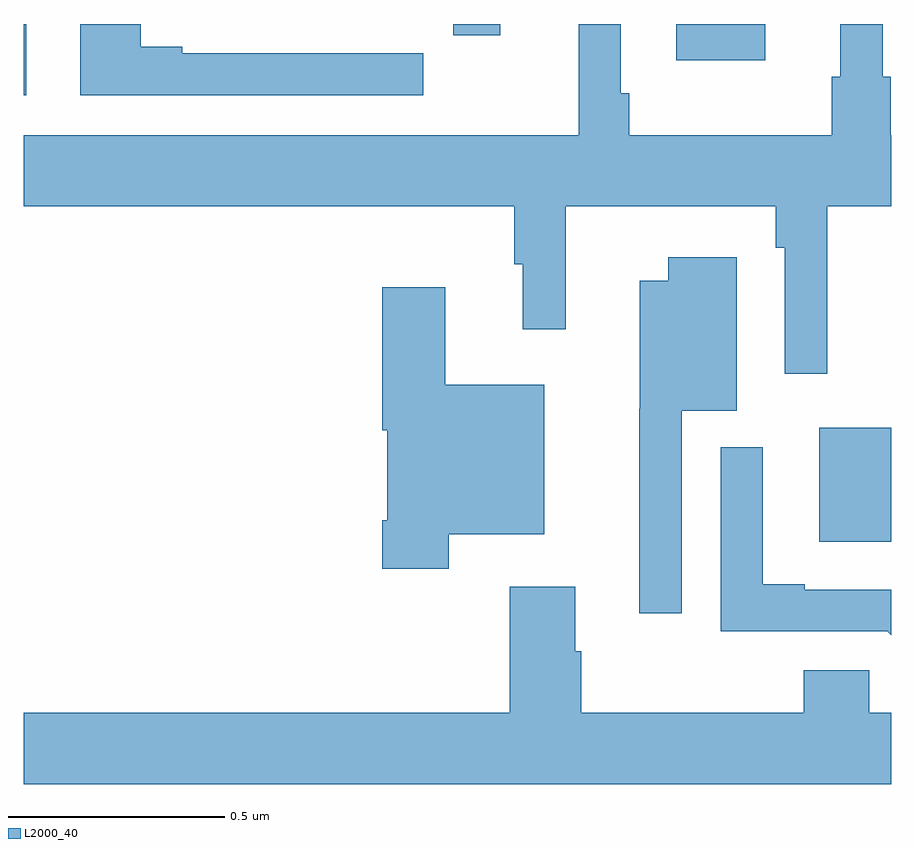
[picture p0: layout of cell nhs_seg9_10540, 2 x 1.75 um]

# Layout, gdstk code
import gdstk
lib = gdstk.Library(unit=1e-6, precision=1e-09)
def R(c, l, rs):  # rectangles x0, y0, x1, y1
    for r in rs: c.add(gdstk.rectangle(r[:2], r[2:], *l))
def P(c, l, *ps):  # polygons
    for p in ps: c.add(gdstk.Polygon(p, *l))
L2000_40 = (2000, 40)

nhs_seg9_10540 = lib.new_cell('nhs_seg9_10540')
R(nhs_seg9_10540, L2000_40, [(245.834,1202.306,246,1202.569), (244,1203.336,244.006,1203.5), (245.504,1203.416,245.71,1203.5), (244.99,1203.474,245.099,1203.5)])
P(nhs_seg9_10540, L2000_40, [(245.852,1203.08),(246,1203.08),(246,1203.244),(245.999,1203.244),(245.999,1203.378),(245.98,1203.378),(245.98,1203.5),(245.882,1203.5),(245.882,1203.378),(245.863,1203.378),(245.863,1203.244),(245.396,1203.244),(245.396,1203.34),(245.376,1203.34),(245.376,1203.5),(245.279,1203.5),(245.279,1203.244),(244,1203.244),(244,1203.08),(245.131,1203.08),(245.131,1202.946),(245.15,1202.946),(245.15,1202.796),(245.25,1202.796),(245.25,1203.08),(245.734,1203.08),(245.734,1202.984),(245.754,1202.984),(245.754,1202.694),(245.852,1202.694)],
  [(244.921,1203.432),(244.808,1203.432),(244.808,1203.433),(244.642,1203.433),(244.642,1203.432),(244.366,1203.432),(244.366,1203.447),(244.27,1203.447),(244.27,1203.5),(244.13,1203.5),(244.13,1203.336),(244.921,1203.336)],
  [(245.517,1202.609),(245.644,1202.609),(245.644,1202.962),(245.486,1202.962),(245.486,1202.908),(245.42,1202.908),(245.42,1202.613),(245.419,1202.613),(245.419,1202.142),(245.517,1202.142)],
  [(244.98,1202.324),(245.2,1202.324),(245.2,1202.668),(244.972,1202.668),(244.972,1202.893),(244.826,1202.893),(244.826,1202.564),(244.838,1202.564),(244.838,1202.356),(244.826,1202.356),(244.826,1202.244),(244.98,1202.244)],
  [(246,1202.196),(245.8,1202.196),(245.8,1202.209),(245.704,1202.209),(245.704,1202.524),(245.607,1202.524),(245.607,1202.1),(245.991,1202.1),(246,1202.091)],
  [(246,1201.912),(245.949,1201.912),(245.949,1202.01),(245.798,1202.01),(245.798,1201.912),(245.285,1201.912),(245.285,1202.054),(245.272,1202.054),(245.272,1202.203),(245.12,1202.203),(245.12,1201.912),(244,1201.912),(244,1201.748),(246,1201.748)])

lib.write_gds('nhs_seg9_10540.gds')
